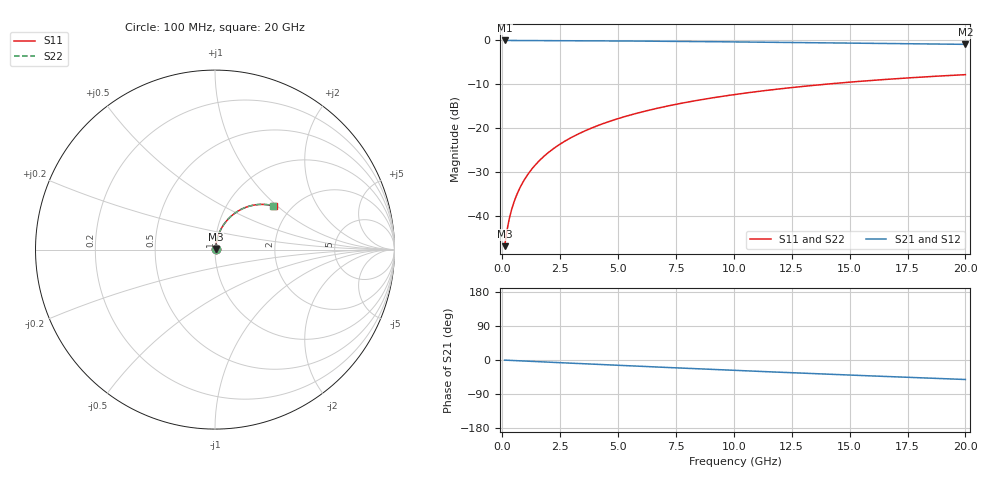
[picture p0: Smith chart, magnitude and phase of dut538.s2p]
! Touchstone file exported from HFSS 2026.1.0
!  File:  C:/ffzhzh/LocalFiles/Ansys_Project_Files/temp_train_TMRDL_538_1783007424_53980.aedt
!  Generated:  11:51:58 PM Jul  2, 2026
!  Design:  TMRDL
!  Project:  temp_train_TMRDL_538_1783007424_53980
! Variables:
!  h_bsmrdl = 2um
!  h_ox = 20um
!  h_rdl = 5um
!  h_sub = 80um
!  h_tmrdl = 4.13um
!  h_tsv = 80um
!  h_via = 3um
!  l_bsmrdl = 300um
!  l_sub = 1208.57um
!  l_tmrdl = 808.57um
!  m_sub = 200um
!  pitch = 43.43um
!  r_tsv = 6um
!  s_tmrdl = 10um
!  w_bsmrdl = 18um
!  w_sub = 500um
!  w_tmrdl = 20.98um
!  x_tsv_center1 = 819.06um
!  x_tsv_center2 = 1137.06um
!  x_tsv_center3 = 1966.61um
!  x_tsv_center4 = 2284.61um
!  x_tsv_center5 = 3114.16um
!  x_tsv_center6 = 3432.16um
# GHz S MA R 50.000000
! Terminal data exported
! Port[1] = TM_RDL1_1_T1
! Port[2] = TM_RDL1_1_T2
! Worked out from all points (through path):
!   200 points, 100 MHz to 20 GHz, reference 50 ohm
!   highest |S21| = -0.03 dB at 100 MHz (marker M1); lowest = -0.9 dB at 20 GHz (marker M2)
!   group delay of S21, straight-line fit = 7.15 ps
!   lowest |S11| = -46.8 dB at 100 MHz (marker M3), VSWR 1.01, Z = 50.3 + j0.296 ohm
!   |S11| at or under -10 dB: start of sweep to 13.94 GHz
!   |S22| runs from -46.8 to -7.8 dB; largest |S21 - S12| = 1.3e-14
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0.1  0.004563 40.0  0.9965 -0.3  0.9965 -0.3  0.004563 40.0
! Gamma 0 0 0 0
! Port Impedance 50 0 50 0
0.2  0.00685 56.9  0.9963 -0.6  0.9963 -0.6  0.00685 56.9
0.3  0.009322 64.5  0.9961 -0.9  0.9961 -0.9  0.009322 64.5
0.4  0.01182 68.9  0.9959 -1.2  0.9959 -1.2  0.01182 68.9
0.5  0.01435 71.8  0.9958 -1.4  0.9958 -1.4  0.01435 71.8
0.6  0.01689 73.8  0.9956 -1.7  0.9956 -1.7  0.01689 73.8
0.8  0.02202 76.3  0.9954 -2.3  0.9954 -2.3  0.02201 76.3
1.1  0.02979 78.1  0.9951 -3.1  0.9951 -3.1  0.02979 78.2
1.3  0.03499 78.7  0.9948 -3.7  0.9948 -3.7  0.03499 78.7
1.6  0.04281 79.0  0.9943 -4.5  0.9943 -4.5  0.04281 79.1
2.1  0.0558 78.8  0.9934 -6.0  0.9934 -6.0  0.0558 78.8
2.7  0.07128 77.9  0.992 -7.6  0.992 -7.6  0.07128 77.9
3.5  0.09164 76.3  0.9896 -9.9  0.9896 -9.9  0.09164 76.3
4.2  0.1091 74.6  0.9873 -11.8  0.9873 -11.8  0.1091 74.7
5  0.1287 72.7  0.9842 -14.0  0.9842 -14.0  0.1287 72.7
5.9  0.1503 70.4  0.9804 -16.4  0.9804 -16.4  0.1503 70.5
6.8  0.1713 68.2  0.9763 -18.8  0.9763 -18.8  0.1712 68.2
8.3  0.2049 64.4  0.9688 -22.8  0.9688 -22.8  0.2049 64.4
10.1  0.2432 59.9  0.9591 -27.5  0.9591 -27.5  0.2432 60.0
13.4  0.3067 51.9  0.9396 -35.8  0.9396 -35.8  0.3067 52.0
16.7  0.3614 44.2  0.9195 -43.8  0.9195 -43.8  0.3614 44.2
20  0.407 36.7  0.9001 -51.5  0.9001 -51.5  0.407 36.8
